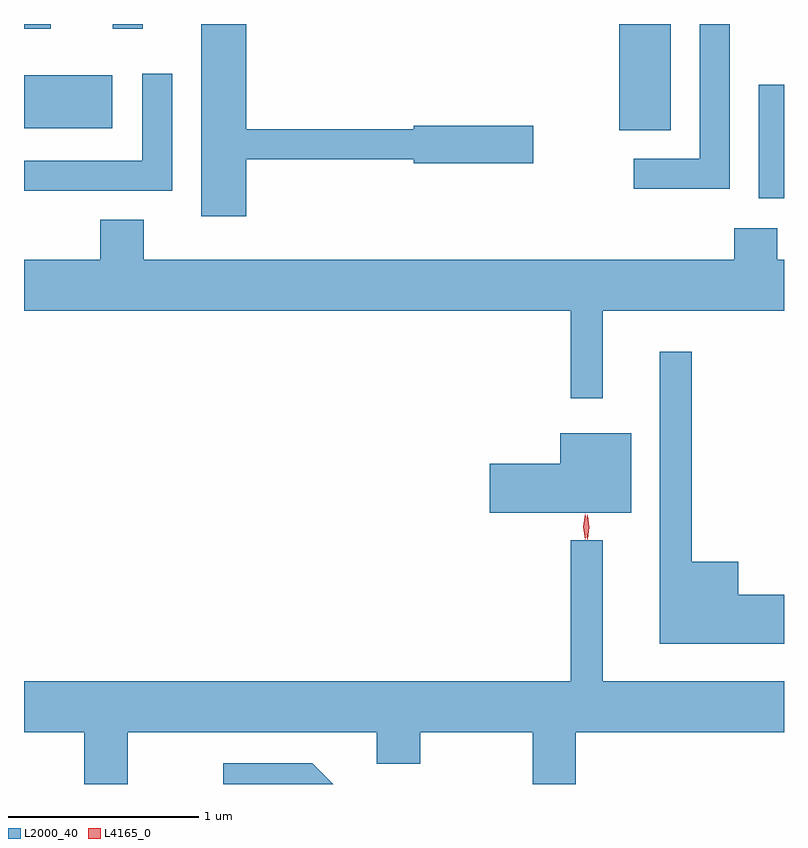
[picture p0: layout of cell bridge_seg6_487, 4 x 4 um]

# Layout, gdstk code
import gdstk
lib = gdstk.Library(unit=1e-6, precision=1e-09)
def R(c, l, rs):  # rectangles x0, y0, x1, y1
    for r in rs: c.add(gdstk.rectangle(r[:2], r[2:], *l))
def P(c, l, *ps):  # polygons
    for p in ps: c.add(gdstk.Polygon(p, *l))
L2000_40 = (2000, 40)
L4165_0 = (4165, 0)

bridge_seg6_487 = lib.new_cell('bridge_seg6_487')
R(bridge_seg6_487, L2000_40, [(992.971,1592.806,993.104,1593.404), (992.236,1593.166,992.509,1593.724), (989.104,1593.176,989.569,1593.454), (989.104,1593.698,989.244,1593.724), (989.571,1593.698,989.729,1593.724)])
P(bridge_seg6_487, L2000_40, [(990.274,1593.011),(991.156,1593.011),(991.156,1592.991),(991.784,1592.991),(991.784,1593.189),(991.156,1593.189),(991.156,1593.169),(990.274,1593.169),(990.274,1593.724),(990.036,1593.724),(990.036,1592.711),(990.274,1592.711)],
  [(992.819,1593.724),(992.661,1593.724),(992.661,1593.014),(992.313,1593.014),(992.313,1592.856),(992.819,1592.856)],
  [(989.884,1593.463),(989.726,1593.463),(989.726,1593.004),(989.104,1593.004),(989.104,1592.846),(989.884,1592.846)],
  [(992.149,1592.216),(993.104,1592.216),(993.104,1592.484),(993.069,1592.484),(993.069,1592.649),(992.841,1592.649),(992.841,1592.484),(989.734,1592.484),(989.734,1592.694),(989.506,1592.694),(989.506,1592.484),(989.104,1592.484),(989.104,1592.216),(991.981,1592.216),(991.981,1591.753),(992.149,1591.753)],
  [(993.104,1590.719),(992.864,1590.719),(992.864,1590.894),(992.619,1590.894),(992.619,1591.998),(992.451,1591.998),(992.451,1590.461),(993.104,1590.461)],
  [(992.299,1591.569),(991.926,1591.569),(991.926,1591.409),(991.556,1591.409),(991.556,1591.151),(992.299,1591.151)],
  [(989.649,1589.996),(990.961,1589.996),(990.961,1589.831),(991.189,1589.831),(991.189,1589.996),(991.781,1589.996),(991.781,1589.724),(992.009,1589.724),(992.009,1589.996),(993.104,1589.996),(993.104,1590.264),(992.149,1590.264),(992.149,1591.008),(991.981,1591.008),(991.981,1590.264),(989.104,1590.264),(989.104,1589.996),(989.421,1589.996),(989.421,1589.724),(989.649,1589.724)],
  [(990.622,1589.834),(990.153,1589.834),(990.153,1589.724),(990.732,1589.724)])
P(bridge_seg6_487, L4165_0, [(992.068,1591.013),(992.059,1591.076),(992.068,1591.139),(992.069,1591.14),(992.07,1591.139),(992.079,1591.076),(992.07,1591.013),(992.069,1591.013)],
  [(992.058,1591.01),(992.048,1591.078),(992.057,1591.146),(992.057,1591.146),(992.058,1591.146),(992.068,1591.078),(992.059,1591.01),(992.059,1591.01)])

lib.write_gds('bridge_seg6_487.gds')
